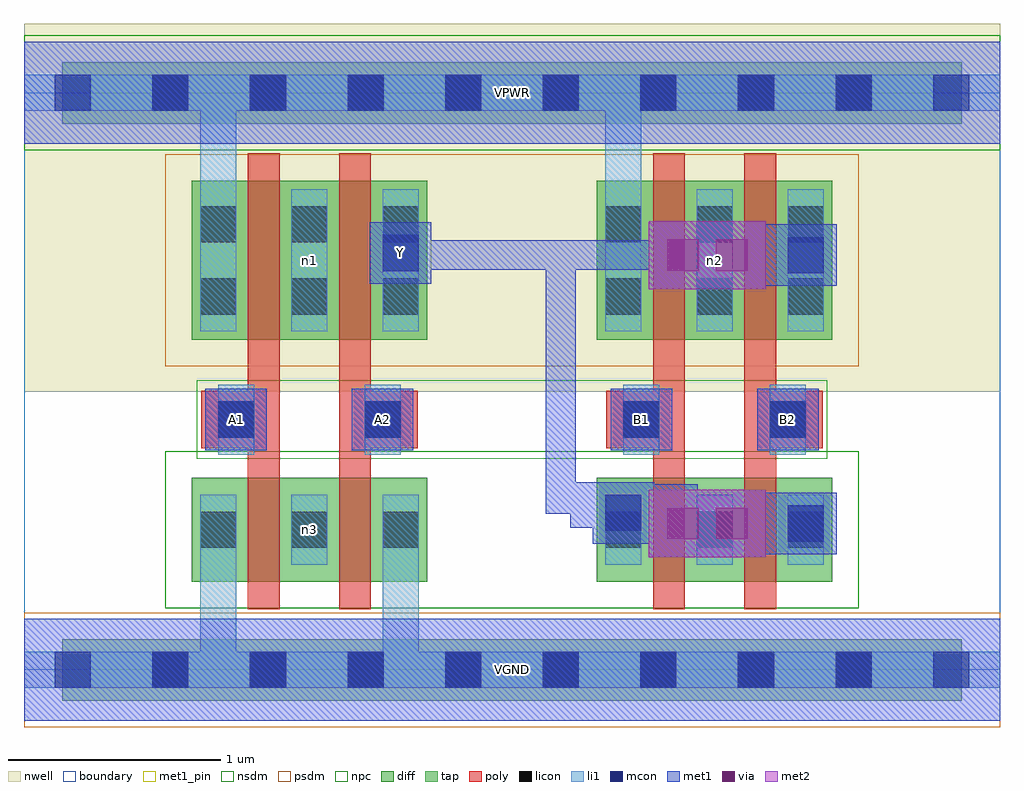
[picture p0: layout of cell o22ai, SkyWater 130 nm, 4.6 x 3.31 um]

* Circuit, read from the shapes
.subckt o22ai A1 A2 B1 B2 VGND VPWR Y n1 n2 n3
XM1 n3 A1 VGND VGND sky130_fd_pr__nfet_01v8 w=0.49 l=0.15
XM2 VGND A2 n3 VGND sky130_fd_pr__nfet_01v8 w=0.49 l=0.15
XM3 n4 B1 Y VGND sky130_fd_pr__nfet_01v8 w=0.49 l=0.15
XM4 Y B2 n4 VGND sky130_fd_pr__nfet_01v8 w=0.49 l=0.15
XM5 n1 A1 VPWR VPWR sky130_fd_pr__pfet_01v8 w=0.75 l=0.15
XM6 Y A2 n1 VPWR sky130_fd_pr__pfet_01v8 w=0.75 l=0.15
XM7 n2 B1 VPWR VPWR sky130_fd_pr__pfet_01v8 w=0.75 l=0.15
XM8 Y B2 n2 VPWR sky130_fd_pr__pfet_01v8 w=0.75 l=0.15
.ends

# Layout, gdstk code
import gdstk
lib = gdstk.Library(unit=1e-6, precision=1e-09)
def R(c, l, rs):  # rectangles x0, y0, x1, y1
    for r in rs: c.add(gdstk.rectangle(r[:2], r[2:], *l))
def A(c, l, x, y, w, h, nx, ny, dx, dy):  # array of equal rectangles
    R(c, l, [(x+i*dx, y+j*dy, x+i*dx+w, y+j*dy+h) for i in range(nx) for j in range(ny)])
nwell = (64, 20)
diff = (65, 20)
tap = (65, 44)
poly = (66, 20)
licon = (66, 44)
li1 = (67, 20)
mcon = (67, 44)
met1_pin = (68, 16)
met1 = (68, 20)
via = (68, 44)
met2 = (69, 20)
nsdm = (93, 44)
psdm = (94, 20)
npc = (95, 20)
boundary = (235, 4)

o22ai = lib.new_cell('o22ai')
R(o22ai, nwell, [(0,1.31,4.6,3.045)])
R(o22ai, diff, [(0.79,0.415,1.9,0.905), (2.7,0.415,3.81,0.905), (0.79,1.555,1.9,2.305), (2.7,1.555,3.81,2.305)])
R(o22ai, tap, [(0.18,-0.145,4.42,0.145), (0.18,2.575,4.42,2.865)])
R(o22ai, poly, [(1.055,0.285,1.205,2.435), (1.485,0.285,1.635,2.435), (2.965,0.285,3.115,2.435), (3.395,0.285,3.545,2.435), (0.835,1.045,1.165,1.315), (1.525,1.045,1.855,1.315), (2.745,1.045,3.075,1.315), (3.435,1.045,3.765,1.315)])
A(o22ai, licon, 0.605, -0.085, 0.17, 0.17, 8, 2, 0.46, 2.72)
A(o22ai, licon, 0.83, 0.575, 0.17, 0.17, 3, 2, 0.43, 1.1)
A(o22ai, licon, 2.74, 0.575, 0.17, 0.17, 3, 2, 0.43, 1.1)
A(o22ai, licon, 0.83, 2.015, 0.17, 0.17, 3, 1, 0.43, 0)
A(o22ai, licon, 2.74, 2.015, 0.17, 0.17, 3, 1, 0.43, 0)
R(o22ai, licon, [(0.915,1.095,1.085,1.265), (1.605,1.095,1.775,1.265), (2.825,1.095,2.995,1.265), (3.515,1.095,3.685,1.265)])
A(o22ai, li1, 0.83, 0.495, 0.17, 0.33, 3, 1, 0.43, 0)
A(o22ai, li1, 2.74, 0.495, 0.17, 0.33, 3, 1, 0.43, 0)
A(o22ai, li1, 0.83, 1.595, 0.17, 0.67, 3, 1, 0.43, 0)
A(o22ai, li1, 2.74, 1.595, 0.17, 0.67, 3, 1, 0.43, 0)
R(o22ai, li1, [(0,-0.085,4.6,0.085), (0.83,-0.085,1,0.825), (1.69,-0.085,1.86,0.825), (0.915,1.015,1.085,1.345), (1.605,1.015,1.775,1.345), (2.825,1.015,2.995,1.345), (3.515,1.015,3.685,1.345), (0.83,1.595,1,2.805), (2.74,1.595,2.91,2.805), (0,2.635,4.6,2.805)])
A(o22ai, mcon, 0.145, -0.085, 0.17, 0.17, 10, 2, 0.46, 2.72)
R(o22ai, mcon, [(3.6,0.605,3.77,0.775), (2.74,0.655,2.91,0.825), (0.915,1.095,1.085,1.265), (1.605,1.095,1.775,1.265), (2.825,1.095,2.995,1.265), (3.515,1.095,3.685,1.265), (3.6,1.87,3.77,2.04), (1.69,1.88,1.86,2.05)])
R(o22ai, met1_pin, [(0,-0.24,4.6,0.24), (0.855,1.035,1.145,1.325), (1.545,1.035,1.835,1.325), (2.765,1.035,3.055,1.325), (3.455,1.035,3.745,1.325), (1.63,1.82,1.92,2.11), (0,2.48,4.6,2.96)])
R(o22ai, met1, [(0,-0.24,4.6,0.24), (2.945,0.53,3.265,0.85), (3.175,0.53,3.495,0.85), (3.495,0.545,3.54,0.835), (3.54,0.545,3.83,0.835), (2.68,0.595,2.97,0.885), (2.97,0.62,3.035,0.875), (3.035,0.62,3.175,0.875), (3.265,0.62,3.635,0.76), (3.495,0.62,3.755,0.76), (2.575,0.67,2.895,0.81), (2.575,0.67,2.715,0.875), (2.46,0.735,2.6,2.025), (2.46,0.735,2.715,0.875), (2.575,0.735,3.175,0.875), (2.6,0.735,2.68,0.885), (0.855,1.035,1.145,1.325), (1.545,1.035,1.835,1.325), (2.765,1.035,3.055,1.325), (3.455,1.035,3.745,1.325), (2.945,1.795,3.265,2.115), (3.175,1.795,3.495,2.115), (3.495,1.81,3.54,2.1), (3.54,1.81,3.83,2.1), (1.63,1.82,1.92,2.11), (1.77,1.885,1.91,2.025), (1.77,1.885,2.6,2.025), (2.46,1.885,3.175,2.025), (3.265,1.885,3.635,2.025), (3.495,1.885,3.755,2.025), (0,2.48,4.6,2.96)])
R(o22ai, via, [(3.03,0.615,3.18,0.765), (3.26,0.615,3.41,0.765), (3.03,1.88,3.18,2.03), (3.26,1.88,3.41,2.03)])
R(o22ai, met2, [(2.945,0.53,3.265,0.85), (3.175,0.53,3.495,0.85), (3.035,0.62,3.405,0.76), (2.945,1.795,3.265,2.115), (3.175,1.795,3.495,2.115), (3.035,1.885,3.405,2.025)])
R(o22ai, nsdm, [(0.665,0.29,3.935,1.03), (0,2.45,4.6,2.99)])
R(o22ai, psdm, [(0,-0.27,4.6,0.27), (0.665,1.43,3.935,2.43)])
R(o22ai, npc, [(0.815,0.995,3.785,1.365)])
R(o22ai, boundary, [(0,0,4.6,2.72)])
o22ai.add(gdstk.Label('n3', (1.345,0.66), layer=67, texttype=5))
o22ai.add(gdstk.Label('n1', (1.345,1.93), layer=67, texttype=5))
o22ai.add(gdstk.Label('n2', (3.255,1.93), layer=67, texttype=5))
o22ai.add(gdstk.Label('A1', (1,1.18), layer=68, texttype=5))
o22ai.add(gdstk.Label('A2', (1.69,1.18), layer=68, texttype=5))
o22ai.add(gdstk.Label('B1', (2.91,1.18), layer=68, texttype=5))
o22ai.add(gdstk.Label('B2', (3.6,1.18), layer=68, texttype=5))
o22ai.add(gdstk.Label('Y', (1.775,1.965), layer=68, texttype=5))
o22ai.add(gdstk.Label('VPWR', (2.3,2.72), layer=68, texttype=5))
o22ai.add(gdstk.Label('VGND', (2.3,0), layer=68, texttype=5))
o22ai.add(gdstk.Label('A1', (1,1.18), layer=68, texttype=16))
o22ai.add(gdstk.Label('A2', (1.69,1.18), layer=68, texttype=16))
o22ai.add(gdstk.Label('B1', (2.91,1.18), layer=68, texttype=16))
o22ai.add(gdstk.Label('B2', (3.6,1.18), layer=68, texttype=16))
o22ai.add(gdstk.Label('Y', (1.775,1.965), layer=68, texttype=16))
o22ai.add(gdstk.Label('VPWR', (2.3,2.72), layer=68, texttype=16))
o22ai.add(gdstk.Label('VGND', (2.3,0), layer=68, texttype=16))

lib.write_gds('o22ai.gds')
